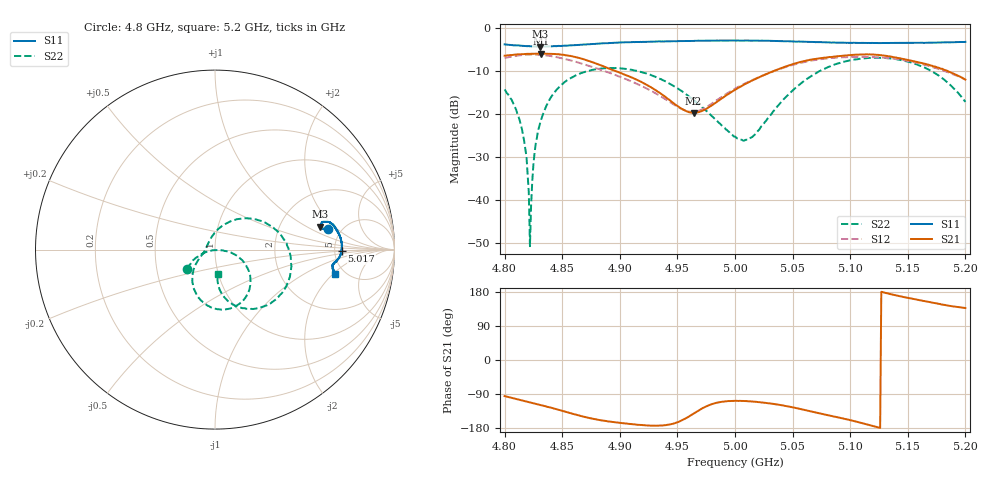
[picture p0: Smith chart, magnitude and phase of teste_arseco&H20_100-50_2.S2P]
! Network Analyzer HP8722D
! Hewlett-Packard
! Data name: Linha & Wilkinson
! Saver's name: Rodrigo Anjos
! Comments: Teste da utilização de aquisição
! continua pelo VNA HP8722D
! Time and date: 6/5/2025 12:35
!  Frequency  S11  S21  S12  S22
# HZ  S  MA R 50
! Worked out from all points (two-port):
!   401 points, 4.8 GHz to 5.2 GHz, reference 50 ohm
!   highest |S21| = -6.04 dB at 4.832 GHz (marker M1); lowest = -19.9 dB at 4.964 GHz (marker M2)
!   |S21| within 3 dB of the highest: start of sweep to 4.886 GHz; 5.044 GHz to 5.173 GHz (129.2 MHz wide, 2.53 % of centre)
!   lowest |S11| = -4.4 dB at 4.831 GHz (marker M3), VSWR 4.02, Z = 171 + j68.5 ohm
!   |S11| at or under -10 dB: nowhere
!   |S22| runs from -50.8 to -7.0 dB; largest |S21 - S12| = 0.11
!   S11 on the Smith chart (normalised r, x): 4.8 GHz: 3.90, +1.51; 5.017 GHz: 5.81, -0.18; 5.2 GHz: 4.20, -2.09
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4.8e9  0.6375 10.4  0.4707 -95.3  0.4418 -81.4  0.1911 -145.7
4.808e9  0.6212 10.4  0.4834 -101.2  0.4636 -88.7  0.1275 -154.9
4.815e9  0.6141 10.9  0.4903 -106.4  0.4782 -95.4  0.06627 -161.9
4.818e9  0.6113 11.0  0.493 -108.9  0.4824 -98.2  0.0387 -166.8
4.82e9  0.6075 11.3  0.4951 -110.2  0.4842 -100.3  0.01952 -165.2
4.822e9  0.6058 11.3  0.4945 -111.8  0.4851 -102.3  0.002876 -94.9
4.824e9  0.6039 11.7  0.4952 -113.4  0.487 -104.5  0.0163 -11.7
4.827e9  0.6036 12.0  0.4973 -115.3  0.4843 -107.5  0.04456 -5.3
4.831e9  0.6014 12.3  0.4968 -118.9  0.4837 -111.1  0.07916 -9.6
4.832e9  0.6021 12.7  0.4989 -119.3  0.4806 -112.3  0.08725 -9.8
4.845e9  0.6078 13.7  0.4917 -129.7  0.4533 -124.2  0.1885 -25.7
4.867e9  0.6309 14.4  0.4342 -148.4  0.3805 -140.4  0.2977 -50.5
4.899e9  0.6704 12.3  0.3019 -165.5  0.2707 -155.4  0.3365 -82.8
4.934e9  0.6898 8.9  0.1766 -173.3  0.1634 -160.1  0.2563 -115.9
4.964e9  0.6992 5.8  0.1017 -141.6  0.105 -129.7  0.1443 -140.8
5e9  0.7078 1.7  0.1886 -107.8  0.1949 -101.9  0.05422 178.9
5.017e9  0.7065 -0.6  0.2496 -110.1  0.252 -105.0  0.05658 123.7
5.067e9  0.6797 -5.3  0.4265 -136.3  0.415 -131.7  0.2773 37.7
5.102e9  0.6639 -6.9  0.4809 -160.3  0.4554 -155.8  0.422 -4.5
5.134e9  0.6624 -7.9  0.4631 174.7  0.4404 -178.0  0.4394 -38.6
5.171e9  0.6682 -9.6  0.3606 151.5  0.3479 158.2  0.3094 -73.6
5.2e9  0.682 -11.3  0.2485 137.1  0.2491 145.0  0.1369 -83.1
